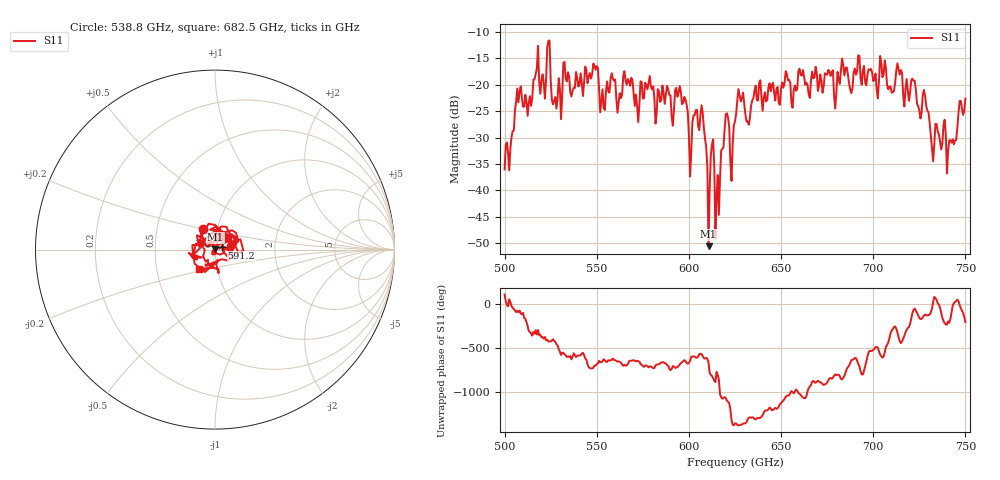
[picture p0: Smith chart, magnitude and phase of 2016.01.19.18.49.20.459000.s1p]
!Created with skrf (http://scikit-rf.org).
# GHz S RI R 50.0
!freq ReS11 ImS11
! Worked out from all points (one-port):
!   401 points, 500 GHz to 750 GHz, reference 50 ohm
!   lowest |S11| = -50.6 dB at 610.6 GHz (marker M1), VSWR 1.01, Z = 50.2 + j0.248 ohm
!   |S11| at or under -10 dB: start of sweep to end of sweep
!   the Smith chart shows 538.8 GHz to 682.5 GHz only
!   S11 on the Smith chart (normalised r, x): 538.8 GHz: 0.86, +0.20; 591.2 GHz: 1.08, +0.03; 682.5 GHz: 0.82, -0.18
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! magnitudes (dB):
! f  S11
! 500 GHz  -36.0
! 507.5 GHz  -23.3
! 513.8 GHz  -22.2
! 516.9 GHz  -17.9
! 531.2 GHz  -22.1
! 538.8 GHz  -17.6
! 549.4 GHz  -17.2
! 553.1 GHz  -20.9
! 558.8 GHz  -18.9
! 562.5 GHz  -21.6
! 591.2 GHz  -27.8
! 593.8 GHz  -22.3
! 600.6 GHz  -37.4
! 607.5 GHz  -25.4
! 610.6 GHz  -50.6
! 612.5 GHz  -31.3
! 615.6 GHz  -37.1
! 620 GHz  -25.6
! 623.1 GHz  -38.2
! 625 GHz  -27.0
! 628.1 GHz  -23.2
! 631.9 GHz  -27.0
! 656.2 GHz  -24.4
! 682.5 GHz  -17.1
! 687.5 GHz  -20.9
! 718.8 GHz  -21.0
! 741.2 GHz  -30.5
! 750 GHz  -22.6
